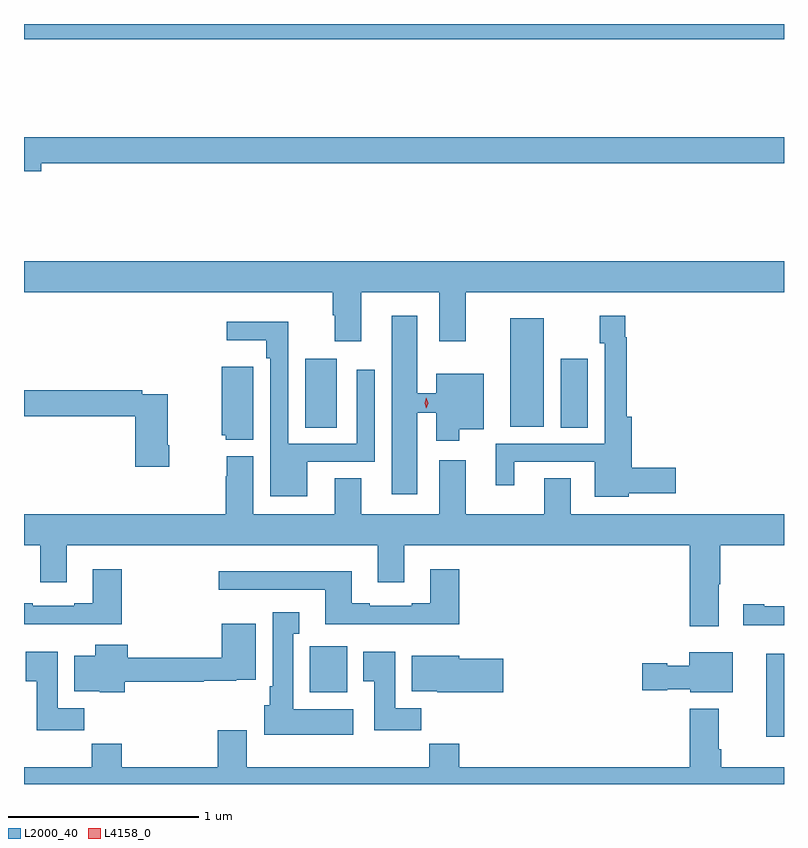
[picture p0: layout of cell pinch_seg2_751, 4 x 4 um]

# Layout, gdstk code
import gdstk
lib = gdstk.Library(unit=1e-6, precision=1e-09)
def R(c, l, rs):  # rectangles x0, y0, x1, y1
    for r in rs: c.add(gdstk.rectangle(r[:2], r[2:], *l))
def P(c, l, *ps):  # polygons
    for p in ps: c.add(gdstk.Polygon(p, *l))
L2000_40 = (2000, 40)
L4158_0 = (4158, 0)

pinch_seg2_751 = lib.new_cell('pinch_seg2_751')
R(pinch_seg2_751, L2000_40, [(750.293,641.301,750.386,641.737), (747.89,641.534,748.087,641.776), (747.866,642.928,748.033,643.291), (749.21,642.928,749.353,643.291), (748.946,642.932,749.122,643.504), (746.386,644.972,750.386,645.052)])
P(pinch_seg2_751, L2000_40, [(746.476,644.32),(750.386,644.32),(750.386,644.456),(746.386,644.456),(746.386,644.278),(746.476,644.278)],
  [(748.162,643.64),(748.571,643.64),(748.571,643.383),(748.711,643.383),(748.711,643.64),(750.386,643.64),(750.386,643.804),(746.386,643.804),(746.386,643.64),(748.01,643.64),(748.01,643.52),(748.022,643.52),(748.022,643.383),(748.162,643.383)],
  [(748.456,643.006),(748.556,643.006),(748.556,642.858),(748.678,642.858),(748.678,642.92),(748.807,642.92),(748.807,643.21),(748.556,643.21),(748.556,643.109),(748.456,643.109),(748.456,643.516),(748.322,643.516),(748.322,642.576),(748.456,642.576)],
  [(749.568,642.581),(749.815,642.581),(749.815,642.716),(749.585,642.716),(749.585,642.985),(749.558,642.985),(749.558,643.403),(749.551,643.403),(749.551,643.516),(749.416,643.516),(749.416,643.371),(749.442,643.371),(749.442,642.843),(748.868,642.843),(748.868,642.624),(748.966,642.624),(748.966,642.747),(749.39,642.747),(749.39,642.563),(749.568,642.563)],
  [(747.877,642.747),(748.233,642.747),(748.233,643.231),(748.137,643.231),(748.137,642.843),(747.777,642.843),(747.777,643.486),(747.453,643.486),(747.453,643.388),(747.661,643.388),(747.661,643.292),(747.681,643.292),(747.681,642.566),(747.877,642.566)],
  [(747.592,643.249),(747.428,643.249),(747.428,642.888),(747.447,642.888),(747.447,642.863),(747.592,642.863)],
  [(747.15,642.835),(747.142,642.835),(747.142,643.104),(747.008,643.104),(747.008,643.124),(746.386,643.124),(746.386,642.988),(746.972,642.988),(746.972,642.723),(747.15,642.723)],
  [(748.022,642.662),(748.022,642.472),(747.592,642.472),(747.592,642.778),(747.454,642.778),(747.454,642.671),(747.449,642.671),(747.449,642.472),(746.386,642.472),(746.386,642.308),(746.471,642.308),(746.471,642.114),(746.611,642.114),(746.611,642.308),(748.247,642.308),(748.247,642.114),(748.387,642.114),(748.387,642.308),(749.891,642.308),(749.891,641.883),(750.043,641.883),(750.043,642.104),(750.051,642.104),(750.051,642.308),(750.386,642.308),(750.386,642.472),(749.263,642.472),(749.263,642.662),(749.123,642.662),(749.123,642.472),(748.711,642.472),(748.711,642.757),(748.571,642.757),(748.571,642.472),(748.162,642.472),(748.162,642.662)],
  [(746.9,642.181),(746.747,642.181),(746.747,642.004),(746.651,642.004),(746.651,641.991),(746.431,641.991),(746.431,642.004),(746.386,642.004),(746.386,641.894),(746.9,641.894)],
  [(748.676,642.181),(748.523,642.181),(748.523,642.004),(748.427,642.004),(748.427,641.991),(748.207,641.991),(748.207,642.004),(748.111,642.004),(748.111,642.172),(747.411,642.172),(747.411,642.075),(747.971,642.075),(747.971,641.894),(748.676,641.894)],
  [(750.386,641.988),(750.283,641.988),(750.283,641.998),(750.171,641.998),(750.171,641.888),(750.386,641.888)],
  [(748.12,641.446),(747.802,641.446),(747.802,641.843),(747.835,641.843),(747.835,641.956),(747.695,641.956),(747.695,641.566),(747.68,641.566),(747.68,641.466),(747.65,641.466),(747.65,641.312),(748.12,641.312)],
  [(746.915,641.589),(747.332,641.589),(747.332,641.596),(747.503,641.596),(747.503,641.6),(747.607,641.6),(747.607,641.896),(747.428,641.896),(747.428,641.717),(746.933,641.717),(746.933,641.785),(746.762,641.785),(746.762,641.728),(746.651,641.728),(746.651,641.54),(746.784,641.54),(746.784,641.534),(746.915,641.534)],
  [(746.702,641.452),(746.563,641.452),(746.563,641.749),(746.396,641.749),(746.396,641.593),(746.453,641.593),(746.453,641.334),(746.702,641.334)],
  [(748.478,641.452),(748.339,641.452),(748.339,641.749),(748.172,641.749),(748.172,641.593),(748.229,641.593),(748.229,641.334),(748.478,641.334)],
  [(750.115,641.746),(749.888,641.746),(749.888,641.674),(749.772,641.674),(749.772,641.687),(749.64,641.687),(749.64,641.545),(749.772,641.545),(749.772,641.552),(749.892,641.552),(749.892,641.534),(750.115,641.534)],
  [(748.909,641.711),(748.678,641.711),(748.678,641.728),(748.427,641.728),(748.427,641.54),(748.56,641.54),(748.56,641.534),(748.909,641.534)],
  [(750.386,641.14),(750.056,641.14),(750.056,641.236),(750.043,641.236),(750.043,641.449),(749.891,641.449),(749.891,641.14),(748.676,641.14),(748.676,641.264),(748.519,641.264),(748.519,641.14),(747.559,641.14),(747.559,641.335),(747.407,641.335),(747.407,641.14),(746.9,641.14),(746.9,641.264),(746.743,641.264),(746.743,641.14),(746.386,641.14),(746.386,641.052),(750.386,641.052)])
P(pinch_seg2_751, L4158_0, [(748.503,643.029),(748.494,643.056),(748.503,643.084),(748.504,643.084),(748.504,643.084),(748.513,643.056),(748.504,643.029),(748.504,643.029)])

lib.write_gds('pinch_seg2_751.gds')
